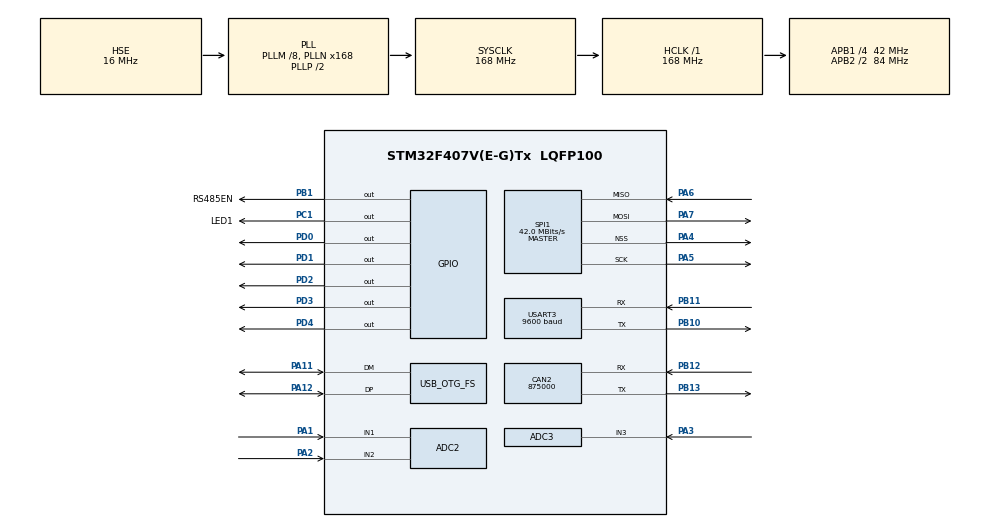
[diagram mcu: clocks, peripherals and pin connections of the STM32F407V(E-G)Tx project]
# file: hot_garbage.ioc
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Mcu.Family=STM32F4
PA6.Mode=Full_Duplex_Master
USB_DEVICE.CLASS_NAME_FS=CDC
PH0-OSC_IN.Signal=RCC_OSC_IN
RCC.CortexFreq_Value=168000000
SPI1.VirtualType=VM_MASTER
ADC2.SamplingTime-1\#ChannelRegularConversion=ADC_SAMPLETIME_3CYCLES
PB10.Mode=Asynchronous
CAN2.CalculateTimeBit=1142.85
SH.ADCx_IN2.0=ADC2_IN2,IN2
PA11.Mode=Device_Only
USB_DEVICE.VirtualMode-CDC_FS=Cdc
PB11.Signal=USART3_RX
PB13.Signal=CAN2_TX
ADC3.Channel-0\#ChannelRegularConversion=ADC_CHANNEL_3
RCC.SYSCLKSource=RCC_SYSCLKSOURCE_PLLCLK
ProjectManager.StackSize=0x400
PA12.Signal=USB_OTG_FS_DP
USART3.BaudRate=9600
PA4.Mode=NSS_Signal_Hard_Output
SPI1.Direction=SPI_DIRECTION_2LINES
RCC.HCLKFreq_Value=168000000
SH.ADCx_IN3.0=ADC3_IN3,IN3
PD4.Signal=GPIO_Output
RCC.APB2TimFreq_Value=168000000
SPI1.CalculateBaudRate=42.0 MBits/s
PD0.Signal=GPIO_Output
RCC.AHBFreq_Value=168000000
PH0-OSC_IN.Mode=HSE-External-Oscillator
RCC.HSE_VALUE=16000000
PB3.Mode=Trace_Asynchronous_SW
PA14.Mode=Trace_Asynchronous_SW
PB1.GPIO_Label=RS485EN
SPI1.VirtualNSS=VM_NSSHARD
PH1-OSC_OUT.Mode=HSE-External-Oscillator
Mcu.Package=LQFP100
PB1.Signal=GPIO_Output
PA6.Signal=SPI1_MISO
PB12.Mode=CAN_Activate
NVIC.OTG_FS_IRQn=true\:0\:0\:false\:false\:true\:false\:true
ADC2.Channel-1\#ChannelRegularConversion=ADC_CHANNEL_1
ADC3.Rank-0\#ChannelRegularConversion=1
USB_OTG_FS.VirtualMode=Device_Only
RCC.APB2CLKDivider=RCC_HCLK_DIV2
SH.ADCx_IN1.0=ADC2_IN1,IN1
RCC.APB1TimFreq_Value=84000000
PB13.Mode=CAN_Activate
PA3.Signal=ADCx_IN3
PA5.Mode=Full_Duplex_Master
CAN2.CalculateBaudRate=875000
PA7.Mode=Full_Duplex_Master
USB_DEVICE.VirtualModeFS=Cdc_FS
PD3.Signal=GPIO_Output
PD1.Signal=GPIO_Output
RCC.APB1CLKDivider=RCC_HCLK_DIV4
PA13.Signal=SYS_JTMS-SWDIO
ADC3.SamplingTime-0\#ChannelRegularConversion=ADC_SAMPLETIME_3CYCLES
PB11.Mode=Asynchronous
ProjectManager.TargetToolchain=STM32CubeIDE
VP_USB_DEVICE_VS_USB_DEVICE_CDC_FS.Mode=CDC_FS
RCC.LSE_VALUE=32768
PA1.Signal=ADCx_IN1
PB10.Signal=USART3_TX
PA5.Signal=SPI1_SCK
board=custom
RCC.VCOOutputFreq_Value=336000000
RCC.APB2Freq_Value=84000000
SPI1.Mode=SPI_MODE_MASTER
PC1.GPIO_Label=LED1
CAN2.CalculateTimeQuantum=380.95238095238096
PH1-OSC_OUT.Signal=RCC_OSC_OUT
PA13.Mode=Trace_Asynchronous_SW
Mcu.Name=STM32F407V(E-G)Tx
PA2.Signal=ADCx_IN2
RCC.48MHZClocksFreq_Value=48000000
PB3.Signal=SYS_JTDO-SWO
PA4.Signal=SPI1_NSS
RCC.SYSCLKFreq_VALUE=168000000
PA12.Mode=Device_Only
ADC2.NbrOfConversionFlag=1
USART3.VirtualMode=VM_ASYNC
PA11.Signal=USB_OTG_FS_DM
PA14.Signal=SYS_JTCK-SWCLK
ProjectManager.HeapSize=0x200
RCC.HSI_VALUE=16000000
RCC.PLLQ=7
NVIC.PriorityGroup=NVIC_PRIORITYGROUP_4
RCC.PLLM=8
RCC.PLLN=168
ADC2.Rank-1\#ChannelRegularConversion=1
PD2.Signal=GPIO_Output
RCC.APB1Freq_Value=42000000
ADC3.NbrOfConversionFlag=1
PC1.Signal=GPIO_Output
PB12.Signal=CAN2_RX
PA7.Signal=SPI1_MOSI

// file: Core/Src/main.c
/* USER CODE BEGIN Header */
/**
 ******************************************************************************
 * @file           : main.c
 * @brief          : Main program body
 ******************************************************************************
 * @attention
 *
 * <h2><center>&copy; Copyright (c) 2021 STMicroelectronics.
 * All rights reserved.</center></h2>
 *
 * This software component is licensed by ST under BSD 3-Clause license,
 * the "License"; You may not use this file except in compliance with the
 * License. You may obtain a copy of the License at:
 *                        opensource.org/licenses/BSD-3-Clause
 *
 ******************************************************************************
 */
/* USER CODE END Header */
#include "main.h"
#include "usb_device.h"
#include "usbd_cdc_if.h"

/* USER CODE BEGIN Includes */
#include "spindle.h"
#include "H100Spindle.h"
#include "headboardCtrl.h"

/* USER CODE END Includes */

ADC_HandleTypeDef hadc2;
ADC_HandleTypeDef hadc3;

CAN_HandleTypeDef hcan2;

SPI_HandleTypeDef hspi1;

UART_HandleTypeDef huart3;

void SystemClock_Config(void);
static void MX_GPIO_Init(void);
static void MX_ADC2_Init(void);
static void MX_ADC3_Init(void);
static void MX_CAN2_Init(void);
static void MX_SPI1_Init(void);
static void MX_USART3_UART_Init(void);

int main(void)
{
	int status = NO_ERROR;

	/* MCU Configuration--------------------------------------------------------*/

	/* Reset of all peripherals, Initializes the Flash interface and the Systick. */
	HAL_Init();

	/* Configure the system clock */
	SystemClock_Config();

	/* Initialize all configured peripherals */
	MX_GPIO_Init();
	MX_ADC2_Init();
	MX_ADC3_Init();
	MX_CAN2_Init();
	MX_SPI1_Init();
	MX_USART3_UART_Init();
	MX_USB_DEVICE_Init();
	/* USER CODE BEGIN 2 */

	uint8_t onStat[3] =
	{ 'M', '3', '\n' };
	uint8_t offStat[3] =
	{ 'M', '5', '\n' };
	uint8_t ssStat[3] =
	{ 'S', 'S', '\n' };
	uint8_t ack[3] =
	{ 'A', 'C', '\n' };
	uint8_t errorMsg[3] =
	{ 'E', 'R', '\n' };
	uint8_t soStat[3] =
	{ 'H', 'H', '\n' };

	char initTx[] = "11111111111111111111"; //twenty 1s

	char *initTxPtr = initTx;

	uint8_t CDCtx[50] =
	{ 'A', '2', '3', '4', '5', '6', '7', '\n' };

	char CDCrx[100];

	CDCrx[0] = 'a';

	char *CDCrxPtr1 = &CDCrx[2];

	uint32_t x = -99;
	int rpm = 0;

	int spindleRunning = 0;

	//HAL_GPIO_WritePin(LED1_GPIO_Port, LED1_Pin, 1);
	while (CDCrx[0] != 'i')
	{
		//if this fails to build, revert usbd_cdc_if.h and .c from github
		CDC_Receive_FS((uint8_t*) CDCrx, &x);
		HAL_Delay(10);
	}
	CDC_Transmit_FS((uint8_t*) initTxPtr, 18);

	struct SpindleData spindle0;

	/* USER CODE END 2 */

	/* Infinite loop */
	while (1)
	{

		/* USER CODE BEGIN 3 */

		for (int i = 0; i < 16; i++)
		{
			CDCrx[i] = 'a';
		}

		CDC_Receive_FS(CDCrx, &x);

		HAL_GPIO_WritePin(LED1_GPIO_Port, LED1_Pin, 1);
		HAL_Delay(40);
		HAL_GPIO_WritePin(LED1_GPIO_Port, LED1_Pin, 0);
		HAL_Delay(40);

		if (CDCrx[0] == 'M')
		{
			if (CDCrx[1] == '3')
			{
				//send message so LCNC knows the board got the command
				CDC_Transmit_FS(ack, 3);

				//send the cmd to turn on the spindle
				status = H100spindleFWD(&huart3);

				//turn on blue led in headstock to lock the drawbar
				//set_headboard_solenoid_state(&huart3, 0x05, 1);

				if (status != NO_ERROR)
				{
					CDC_Transmit_FS(errorMsg, 3);
				}
				else
				{
					CDC_Transmit_FS(onStat, 3);
					spindleRunning = 1;
				}

				HAL_Delay(10);

			}
			else if (CDCrx[1] == '5')
			{
				CDC_Transmit_FS(ack, 3);

				if (H100spindleOFF(&huart3) != NO_ERROR)
				{
					CDC_Transmit_FS(errorMsg, 3);

					//turn off blue led in headstock to lock the drawbar
					//set_headboard_solenoid_state(&huart3, 0x05, 0);
				}
				else
				{
					CDC_Transmit_FS(offStat, 3);
					spindleRunning = 0;
				}
				HAL_Delay(10);

			}

		}
		else if (CDCrx[0] == 'S')
		{

			//expected format is S024000 for 24000 rpm or S005000 for 5000rpm

			//send acknowledged to let linux know we got the command
			CDC_Transmit_FS(ack, 3);

			CDCrx[7] = 'a';

			//rounddown ok
			rpm = atoi(CDCrxPtr1);

			//H100SetRPM(&huart3, rpm);
			//CDC_Transmit_FS(CDCrx, 8);

			//if message fails, send error message
			if (H100SetRPM(&huart3, rpm) != 0)
			{
				CDC_Transmit_FS(errorMsg, 3);
			}
			else
			{
				CDC_Transmit_FS(ssStat, 3);
			}

		}
		else if (CDCrx[0] == 'R')
		{
			CDC_Transmit_FS(ack, 3);

			uint16_t spindleI;
			uint16_t spindleRPM;

			//if no errrors set vars

			switch (masterRd(&huart3, &spindle0))
			{
			case 0:
//				spindleI   = spindle0.current;
//				spindleRPM = spindle0.rpm;

				spindleI = altGetI();
				spindleRPM = altGetRPM();
				break;
			case 3:
				//HAL_TIMEOUT
				spindleI = 777;
				spindleRPM = 44666;
				break;
			case 4:
				//CRC failed
				spindleI = 888;
				spindleRPM = getRxCRC();
				break;
			default:
				spindleI = 999;
				spindleRPM = 44444;
				break;
			}

			//11 bytes long
			sprintf(CDCtx, "R%05d,%03d\n", spindleRPM, spindleI);

			CDC_Transmit_FS(CDCtx, 11);

			//delay needed since CDC tx is non blocking and OS is weird
			//HAL_Delay(20);
			//CDC_Transmit_FS(getCheck(), 11);
		}
		//this section does not transmit ACK
		else if (CDCrx[0] == 'H')
		{
			//drawbar
			if (CDCrx[1] == '0')
			{
				if (CDCrx[2] == '1')
				{
					if (release_tool(&huart3) == NO_ERROR)
					{
						CDC_Transmit_FS(soStat, 3);

					}

				}
				else if (CDCrx[2] == '0')
				{
					if (clamp_tool(&huart3) == NO_ERROR)
					{
						CDC_Transmit_FS(soStat, 3);
					}
				}
			}
			else if (CDCrx[1] == '2')
			{
				if (CDCrx[2] == '1')
				{
					if (coolant_on(&huart3) == NO_ERROR)
					{
						CDC_Transmit_FS(soStat, 3);
					}
				}
				else if (CDCrx[2] == '0')
				{
					if (coolant_off(&huart3) == NO_ERROR)
					{
						CDC_Transmit_FS(soStat, 3);
					}
				}
			}
			else if (CDCrx[1] == '3')
			{
				if (CDCrx[2] == '1')
				{
					if (unlock_Z_axis(&huart3) == NO_ERROR)
					{
						CDC_Transmit_FS(soStat, 3);
					}
				}
				else if (CDCrx[2] == '0')
				{
					if (lock_Z_axis(&huart3) == NO_ERROR)
					{
						CDC_Transmit_FS(soStat, 3);
					}
				}

			}
			//turn on/off blue LED
			//does not send ACK or HH
			else if (CDCrx[1] == '5')
			{
				if (CDCrx[2] == '1')
				{
					set_headboard_solenoid_state(&huart3, 0x05, 1);
				}
				else if (CDCrx[2] == '0')
				{
					set_headboard_solenoid_state(&huart3, 0x05, 0);
				}

			}

		}
		else if (CDCrx[0] == 'q')
		{
			//reboot
			HAL_NVIC_SystemReset();
		}

	}

	/* USER CODE END 3 */
}

void SystemClock_Config(void)
{
	RCC_OscInitTypeDef RCC_OscInitStruct =
	{ 0 };
	RCC_ClkInitTypeDef RCC_ClkInitStruct =
	{ 0 };

	/** Configure the main internal regulator output voltage
	 */
	__HAL_RCC_PWR_CLK_ENABLE();
	__HAL_PWR_VOLTAGESCALING_CONFIG(PWR_REGULATOR_VOLTAGE_SCALE1);
	/** Initializes the RCC Oscillators according to the specified parameters
	 * in the RCC_OscInitTypeDef structure.
	 */
	RCC_OscInitStruct.OscillatorType = RCC_OSCILLATORTYPE_HSE;
	RCC_OscInitStruct.HSEState = RCC_HSE_ON;
	RCC_OscInitStruct.PLL.PLLState = RCC_PLL_ON;
	RCC_OscInitStruct.PLL.PLLSource = RCC_PLLSOURCE_HSE;
	RCC_OscInitStruct.PLL.PLLM = 8;
	RCC_OscInitStruct.PLL.PLLN = 168;
	RCC_OscInitStruct.PLL.PLLP = RCC_PLLP_DIV2;
	RCC_OscInitStruct.PLL.PLLQ = 7;
	if (HAL_RCC_OscConfig(&RCC_OscInitStruct) != HAL_OK)
	{
		Error_Handler();
	}
	/** Initializes the CPU, AHB and APB buses clocks
	 */
	RCC_ClkInitStruct.ClockType = RCC_CLOCKTYPE_HCLK | RCC_CLOCKTYPE_SYSCLK
			| RCC_CLOCKTYPE_PCLK1 | RCC_CLOCKTYPE_PCLK2;
	RCC_ClkInitStruct.SYSCLKSource = RCC_SYSCLKSOURCE_PLLCLK;
	RCC_ClkInitStruct.AHBCLKDivider = RCC_SYSCLK_DIV1;
	RCC_ClkInitStruct.APB1CLKDivider = RCC_HCLK_DIV4;
	RCC_ClkInitStruct.APB2CLKDivider = RCC_HCLK_DIV2;

	if (HAL_RCC_ClockConfig(&RCC_ClkInitStruct, FLASH_LATENCY_5) != HAL_OK)
	{
		Error_Handler();
	}
}

static void MX_ADC2_Init(void)
{

	ADC_ChannelConfTypeDef sConfig =
	{ 0 };

	/** Configure the global features of the ADC (Clock, Resolution, Data Alignment and number of conversion)
	 */
	hadc2.Instance = ADC2;
	hadc2.Init.ClockPrescaler = ADC_CLOCK_SYNC_PCLK_DIV4;
	hadc2.Init.Resolution = ADC_RESOLUTION_12B;
	hadc2.Init.ScanConvMode = DISABLE;
	hadc2.Init.ContinuousConvMode = DISABLE;
	hadc2.Init.DiscontinuousConvMode = DISABLE;
	hadc2.Init.ExternalTrigConvEdge = ADC_EXTERNALTRIGCONVEDGE_NONE;
	hadc2.Init.ExternalTrigConv = ADC_SOFTWARE_START;
	hadc2.Init.DataAlign = ADC_DATAALIGN_RIGHT;
	hadc2.Init.NbrOfConversion = 1;
	hadc2.Init.DMAContinuousRequests = DISABLE;
	hadc2.Init.EOCSelection = ADC_EOC_SINGLE_CONV;
	if (HAL_ADC_Init(&hadc2) != HAL_OK)
	{
		Error_Handler();
	}
	/** Configure for the selected ADC regular channel its corresponding rank in the sequencer and its sample time.
	 */
	sConfig.Channel = ADC_CHANNEL_1;
	sConfig.Rank = 1;
	sConfig.SamplingTime = ADC_SAMPLETIME_3CYCLES;
	if (HAL_ADC_ConfigChannel(&hadc2, &sConfig) != HAL_OK)
	{
		Error_Handler();
	}

}

static void MX_ADC3_Init(void)
{

	ADC_ChannelConfTypeDef sConfig =
	{ 0 };

	/** Configure the global features of the ADC (Clock, Resolution, Data Alignment and number of conversion)
	 */
	hadc3.Instance = ADC3;
	hadc3.Init.ClockPrescaler = ADC_CLOCK_SYNC_PCLK_DIV4;
	hadc3.Init.Resolution = ADC_RESOLUTION_12B;
	hadc3.Init.ScanConvMode = DISABLE;
	hadc3.Init.ContinuousConvMode = DISABLE;
	hadc3.Init.DiscontinuousConvMode = DISABLE;
	hadc3.Init.ExternalTrigConvEdge = ADC_EXTERNALTRIGCONVEDGE_NONE;
	hadc3.Init.ExternalTrigConv = ADC_SOFTWARE_START;
	hadc3.Init.DataAlign = ADC_DATAALIGN_RIGHT;
	hadc3.Init.NbrOfConversion = 1;
	hadc3.Init.DMAContinuousRequests = DISABLE;
	hadc3.Init.EOCSelection = ADC_EOC_SINGLE_CONV;
	if (HAL_ADC_Init(&hadc3) != HAL_OK)
	{
		Error_Handler();
	}
	/** Configure for the selected ADC regular channel its corresponding rank in the sequencer and its sample time.
	 */
	sConfig.Channel = ADC_CHANNEL_3;
	sConfig.Rank = 1;
	sConfig.SamplingTime = ADC_SAMPLETIME_3CYCLES;
	if (HAL_ADC_ConfigChannel(&hadc3, &sConfig) != HAL_OK)
	{
		Error_Handler();
	}

}

static void MX_CAN2_Init(void)
{

	hcan2.Instance = CAN2;
	hcan2.Init.Prescaler = 16;
	hcan2.Init.Mode = CAN_MODE_NORMAL;
	hcan2.Init.SyncJumpWidth = CAN_SJW_1TQ;
	hcan2.Init.TimeSeg1 = CAN_BS1_1TQ;
	hcan2.Init.TimeSeg2 = CAN_BS2_1TQ;
	hcan2.Init.TimeTriggeredMode = DISABLE;
	hcan2.Init.AutoBusOff = DISABLE;
	hcan2.Init.AutoWakeUp = DISABLE;
	hcan2.Init.AutoRetransmission = DISABLE;
	hcan2.Init.ReceiveFifoLocked = DISABLE;
	hcan2.Init.TransmitFifoPriority = DISABLE;
	if (HAL_CAN_Init(&hcan2) != HAL_OK)
	{
		Error_Handler();
	}

}

static void MX_SPI1_Init(void)
{

	/* SPI1 parameter configuration*/
	hspi1.Instance = SPI1;
	hspi1.Init.Mode = SPI_MODE_MASTER;
	hspi1.Init.Direction = SPI_DIRECTION_2LINES;
	hspi1.Init.DataSize = SPI_DATASIZE_8BIT;
	hspi1.Init.CLKPolarity = SPI_POLARITY_LOW;
	hspi1.Init.CLKPhase = SPI_PHASE_1EDGE;
	hspi1.Init.NSS = SPI_NSS_HARD_OUTPUT;
	hspi1.Init.BaudRatePrescaler = SPI_BAUDRATEPRESCALER_2;
	hspi1.Init.FirstBit = SPI_FIRSTBIT_MSB;
	hspi1.Init.TIMode = SPI_TIMODE_DISABLE;
	hspi1.Init.CRCCalculation = SPI_CRCCALCULATION_DISABLE;
	hspi1.Init.CRCPolynomial = 10;
	if (HAL_SPI_Init(&hspi1) != HAL_OK)
	{
		Error_Handler();
	}

}

static void MX_USART3_UART_Init(void)
{

	huart3.Instance = USART3;
	huart3.Init.BaudRate = 19200;
	huart3.Init.WordLength = UART_WORDLENGTH_8B;
	huart3.Init.StopBits = UART_STOPBITS_1;
	huart3.Init.Parity = UART_PARITY_NONE;
	huart3.Init.Mode = UART_MODE_TX_RX;
	huart3.Init.HwFlowCtl = UART_HWCONTROL_NONE;
	huart3.Init.OverSampling = UART_OVERSAMPLING_16;
	if (HAL_UART_Init(&huart3) != HAL_OK)
	{
		Error_Handler();
	}

}

static void MX_GPIO_Init(void)
{
	GPIO_InitTypeDef GPIO_InitStruct =
	{ 0 };

	/* GPIO Ports Clock Enable */
	__HAL_RCC_GPIOH_CLK_ENABLE();
	__HAL_RCC_GPIOC_CLK_ENABLE();
	__HAL_RCC_GPIOA_CLK_ENABLE();
	__HAL_RCC_GPIOB_CLK_ENABLE();
	__HAL_RCC_GPIOD_CLK_ENABLE();

	/*Configure GPIO pin Output Level */
	HAL_GPIO_WritePin(LED1_GPIO_Port, LED1_Pin, GPIO_PIN_RESET);

	/*Configure GPIO pin Output Level */
	HAL_GPIO_WritePin(RS485EN_GPIO_Port, RS485EN_Pin, GPIO_PIN_RESET);

	/*Configure GPIO pin Output Level */
	HAL_GPIO_WritePin(GPIOD,
	GPIO_PIN_0 | GPIO_PIN_1 | GPIO_PIN_2 | GPIO_PIN_3 | GPIO_PIN_4,
			GPIO_PIN_RESET);

	/*Configure GPIO pin : LED1_Pin */
	GPIO_InitStruct.Pin = LED1_Pin;
	GPIO_InitStruct.Mode = GPIO_MODE_OUTPUT_PP;
	GPIO_InitStruct.Pull = GPIO_NOPULL;
	GPIO_InitStruct.Speed = GPIO_SPEED_FREQ_LOW;
	HAL_GPIO_Init(LED1_GPIO_Port, &GPIO_InitStruct);

	/*Configure GPIO pin : RS485EN_Pin */
	GPIO_InitStruct.Pin = RS485EN_Pin;
	GPIO_InitStruct.Mode = GPIO_MODE_OUTPUT_PP;
	GPIO_InitStruct.Pull = GPIO_NOPULL;
	GPIO_InitStruct.Speed = GPIO_SPEED_FREQ_LOW;
	HAL_GPIO_Init(RS485EN_GPIO_Port, &GPIO_InitStruct);

	/*Configure GPIO pins : PD0 PD1 PD2 PD3
	 PD4 */
	GPIO_InitStruct.Pin = GPIO_PIN_0 | GPIO_PIN_1 | GPIO_PIN_2 | GPIO_PIN_3
			| GPIO_PIN_4;
	GPIO_InitStruct.Mode = GPIO_MODE_OUTPUT_PP;
	GPIO_InitStruct.Pull = GPIO_NOPULL;
	GPIO_InitStruct.Speed = GPIO_SPEED_FREQ_LOW;
	HAL_GPIO_Init(GPIOD, &GPIO_InitStruct);

}

void Error_Handler(void)
{
	__disable_irq();
	while (1)
	{
	}
}

/************************ (C) COPYRIGHT STMicroelectronics *****END OF FILE****/
